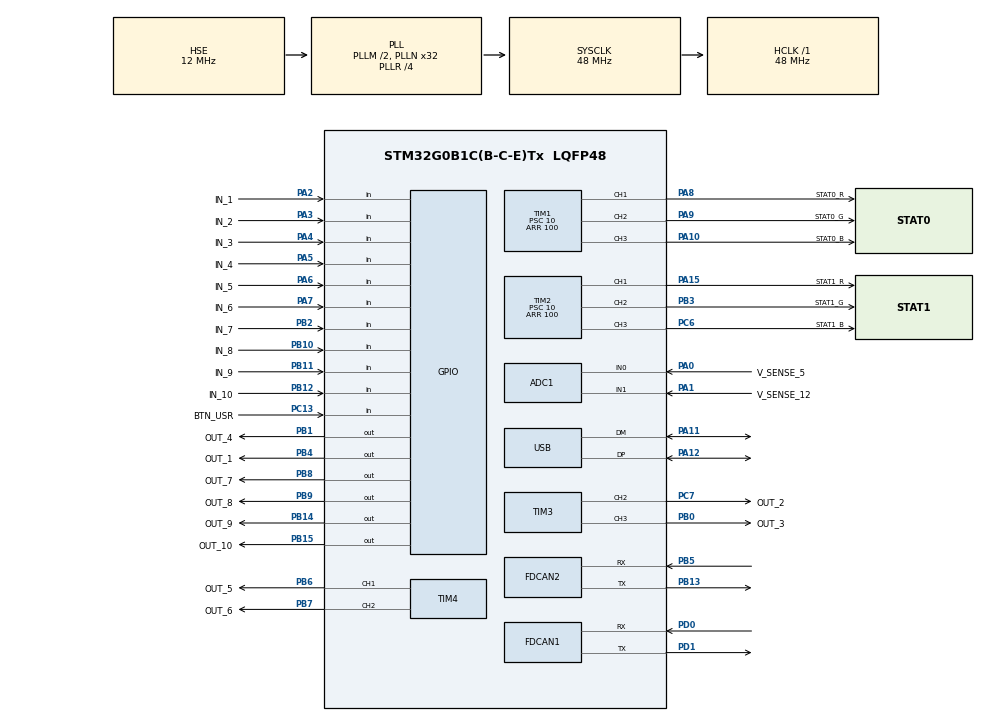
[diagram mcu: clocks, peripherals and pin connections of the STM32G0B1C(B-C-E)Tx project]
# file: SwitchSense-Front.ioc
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ADC1.ContinuousConvMode=ENABLE
ADC1.DMAContinuousRequests=ENABLE
ADC1.NbrOfConversion=1
ADC1.NbrOfConversionFlag=0
ADC1.OversamplingMode=ENABLE
ADC1.Ratio=ADC_OVERSAMPLING_RATIO_64
ADC1.RightBitShift=ADC_RIGHTBITSHIFT_2
ADC1.SamplingTimeCommon1=ADC_SAMPLETIME_7CYCLES_5
ADC1.SelectedChannel=ADC_CHANNEL_0|ADC_CHANNEL_1|ADC_CHANNEL_TEMPSENSOR|ADC_CHANNEL_VREFINT
ADC1.Sequencer=NOT_FULLY_CONFIGURABLE
ADC1.master=1
Dma.ADC1.0.Direction=DMA_PERIPH_TO_MEMORY
Dma.ADC1.0.EventEnable=DISABLE
Dma.ADC1.0.Instance=DMA1_Channel1
Dma.ADC1.0.MemDataAlignment=DMA_MDATAALIGN_HALFWORD
Dma.ADC1.0.MemInc=DMA_MINC_ENABLE
Dma.ADC1.0.Mode=DMA_CIRCULAR
Dma.ADC1.0.PeriphDataAlignment=DMA_PDATAALIGN_HALFWORD
Dma.ADC1.0.PeriphInc=DMA_PINC_DISABLE
Dma.ADC1.0.Polarity=HAL_DMAMUX_REQ_GEN_RISING
Dma.ADC1.0.Priority=DMA_PRIORITY_HIGH
Dma.ADC1.0.RequestNumber=1
Dma.ADC1.0.SignalID=NONE
Dma.ADC1.0.SyncEnable=DISABLE
Dma.ADC1.0.SyncPolarity=HAL_DMAMUX_SYNC_NO_EVENT
Dma.ADC1.0.SyncRequestNumber=1
Dma.ADC1.0.SyncSignalID=NONE
Dma.Request0=ADC1
FDCAN1.CalculateBaudRateNominal=250000
FDCAN1.CalculateTimeBitNominal=4000
FDCAN1.CalculateTimeQuantumNominal=250.0
FDCAN1.NominalPrescaler=12
FDCAN1.NominalTimeSeg1=13
FDCAN1.NominalTimeSeg2=2
FDCAN2.CalculateBaudRateNominal=500000
FDCAN2.CalculateTimeBitNominal=2000
FDCAN2.CalculateTimeQuantumNominal=125.0
FDCAN2.NominalPrescaler=6
FDCAN2.NominalTimeSeg1=13
FDCAN2.NominalTimeSeg2=2
Mcu.Family=STM32G0
Mcu.Name=STM32G0B1C(B-C-E)Tx
Mcu.Package=LQFP48
NVIC.ADC1_COMP_IRQn=true\:0\:0\:false\:false\:true\:true\:true\:true
NVIC.DMA1_Channel1_IRQn=true\:0\:0\:false\:false\:true\:false\:true\:true
NVIC.TIM16_FDCAN_IT0_IRQn=true\:0\:0\:false\:false\:true\:true\:true\:true
NVIC.TIM17_FDCAN_IT1_IRQn=true\:0\:0\:false\:false\:true\:true\:true\:true
PA0.GPIO_Label=V_SENSE_5
PA0.Mode=IN0
PA0.Signal=ADC1_IN0
PA1.GPIO_Label=V_SENSE_12
PA1.Mode=IN1
PA1.Signal=ADC1_IN1
PA10.GPIO_Label=STAT0_B
PA10.Signal=S_TIM1_CH3
PA11\ [PA9].Mode=Device
PA11\ [PA9].Signal=USB_DM
PA12\ [PA10].Mode=Device
PA12\ [PA10].Signal=USB_DP
PA13.Mode=Serial_Wire
PA13.Signal=SYS_SWDIO
PA14-BOOT0.Mode=Serial_Wire
PA14-BOOT0.Signal=SYS_SWCLK
PA15.GPIO_Label=STAT1_R
PA15.Signal=S_TIM2_CH1_ETR
PA2.GPIO_Label=IN_1
PA2.Signal=GPIO_Input
PA3.GPIO_Label=IN_2
PA3.Signal=GPIO_Input
PA4.GPIO_Label=IN_3
PA4.Signal=GPIO_Input
PA5.GPIO_Label=IN_4
PA5.Signal=GPIO_Input
PA6.GPIO_Label=IN_5
PA6.Signal=GPIO_Input
PA7.GPIO_Label=IN_6
PA7.Signal=GPIO_Input
PA8.GPIO_Label=STAT0_R
PA8.Signal=S_TIM1_CH1
PA9.GPIO_Label=STAT0_G
PA9.Signal=S_TIM1_CH2
PB0.GPIO_Label=OUT_3
PB0.Signal=S_TIM3_CH3
PB1.GPIO_Label=OUT_4
PB1.Signal=GPIO_Output
PB10.GPIO_Label=IN_8
PB10.Signal=GPIO_Input
PB11.GPIO_Label=IN_9
PB11.Signal=GPIO_Input
PB12.GPIO_Label=IN_10
PB12.Signal=GPIO_Input
PB13.Mode=FDCAN_Activate
PB13.Signal=FDCAN2_TX
PB14.GPIO_Label=OUT_9
PB14.Signal=GPIO_Output
PB15.GPIO_Label=OUT_10
PB15.Signal=GPIO_Output
PB2.GPIO_Label=IN_7
PB2.Signal=GPIO_Input
PB3.GPIO_Label=STAT1_G
PB3.Signal=S_TIM2_CH2
PB4.GPIO_Label=OUT_1
PB4.Signal=GPIO_Output
PB5.Mode=FDCAN_Activate
PB5.Signal=FDCAN2_RX
PB6.GPIO_Label=OUT_5
PB6.Signal=S_TIM4_CH1
PB7.GPIO_Label=OUT_6
PB7.Signal=S_TIM4_CH2
PB8.GPIO_Label=OUT_7
PB8.Signal=GPIO_Output
PB9.GPIO_Label=OUT_8
PB9.Signal=GPIO_Output
PC13.GPIO_Label=BTN_USR
PC13.Signal=GPIO_Input
PC6.GPIO_Label=STAT1_B
PC6.Signal=S_TIM2_CH3
PC7.GPIO_Label=OUT_2
PC7.Signal=S_TIM3_CH2
PD0.Mode=FDCAN_Activate
PD0.Signal=FDCAN1_RX
PD1.Mode=FDCAN_Activate
PD1.Signal=FDCAN1_TX
PF0-OSC_IN\ (PF0).Mode=HSE-External-Oscillator
PF0-OSC_IN\ (PF0).Signal=RCC_OSC_IN
PF1-OSC_OUT\ (PF1).Mode=HSE-External-Oscillator
PF1-OSC_OUT\ (PF1).Signal=RCC_OSC_OUT
ProjectManager.HeapSize=0x200
ProjectManager.StackSize=0x400
ProjectManager.TargetToolchain=CMake
RCC.ADCFreq_Value=48000000
RCC.AHBFreq_Value=48000000
RCC.CortexFreq_Value=48000000
RCC.EXTERNAL_CLOCK_VALUE=48000
RCC.HCLKFreq_Value=48000000
RCC.HSE_VALUE=12000000
RCC.HSI48_VALUE=48000000
RCC.HSI_VALUE=16000000
RCC.LSE_VALUE=32768
RCC.PLLM=RCC_PLLM_DIV2
RCC.PLLN=32
RCC.PLLR=RCC_PLLR_DIV4
RCC.PLLSourceVirtual=RCC_PLLSOURCE_HSE
RCC.RTCClockSelection=RCC_RTCCLKSOURCE_LSE
RCC.SYSCLKFreq_VALUE=48000000
RCC.SYSCLKSource=RCC_SYSCLKSOURCE_PLLCLK
RCC.USBFreq_Value=48000000
RCC.VCOOutputFreq_Value=192000000
SH.S_TIM1_CH1.0=TIM1_CH1,PWM Generation1 CH1
SH.S_TIM1_CH2.0=TIM1_CH2,PWM Generation2 CH2
SH.S_TIM1_CH3.0=TIM1_CH3,PWM Generation3 CH3
SH.S_TIM2_CH1_ETR.0=TIM2_CH1,PWM Generation1 CH1
SH.S_TIM2_CH2.0=TIM2_CH2,PWM Generation2 CH2
SH.S_TIM2_CH3.0=TIM2_CH3,PWM Generation3 CH3
SH.S_TIM3_CH2.0=TIM3_CH2,PWM Generation2 CH2
SH.S_TIM3_CH3.0=TIM3_CH3,PWM Generation3 CH3
SH.S_TIM4_CH1.0=TIM4_CH1,PWM Generation1 CH1
SH.S_TIM4_CH2.0=TIM4_CH2,PWM Generation2 CH2
TIM1.Channel-PWM\ Generation1\ CH1=TIM_CHANNEL_1
TIM1.Channel-PWM\ Generation2\ CH2=TIM_CHANNEL_2
TIM1.Channel-PWM\ Generation3\ CH3=TIM_CHANNEL_3
TIM1.Period=100
TIM1.Prescaler=10
TIM2.Channel-PWM\ Generation1\ CH1=TIM_CHANNEL_1
TIM2.Channel-PWM\ Generation2\ CH2=TIM_CHANNEL_2
TIM2.Channel-PWM\ Generation3\ CH3=TIM_CHANNEL_3
TIM2.Period=100
TIM2.Prescaler=10
TIM3.Channel-PWM\ Generation2\ CH2=TIM_CHANNEL_2
TIM3.Channel-PWM\ Generation3\ CH3=TIM_CHANNEL_3
TIM4.Channel-PWM\ Generation1\ CH1=TIM_CHANNEL_1
TIM4.Channel-PWM\ Generation2\ CH2=TIM_CHANNEL_2
VP_ADC1_TempSens_Input.Mode=IN-TempSens
VP_ADC1_Vref_Input.Mode=IN-Vrefint
VP_SYS_VS_DBSignals.Mode=DisableDeadBatterySignals
board=custom

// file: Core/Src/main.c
/* USER CODE BEGIN Header */
/**
  ******************************************************************************
  * @file           : main.c
  * @brief          : Main program body
  ******************************************************************************
  * @attention
  *
  * Copyright (c) 2026 STMicroelectronics.
  * All rights reserved.
  *
  * This software is licensed under terms that can be found in the LICENSE file
  * in the root directory of this software component.
  * If no LICENSE file comes with this software, it is provided AS-IS.
  *
  ******************************************************************************
  */
/* USER CODE END Header */
#include "main.h"

/* USER CODE BEGIN Includes */

#include "LV3_CAN.h"
#include "stm32g0xx_hal_gpio.h"

#include "mppt_interface.h"

/* USER CODE END Includes */

ADC_HandleTypeDef hadc1;
DMA_HandleTypeDef hdma_adc1;

FDCAN_HandleTypeDef hfdcan1;
FDCAN_HandleTypeDef hfdcan2;

TIM_HandleTypeDef htim1;
TIM_HandleTypeDef htim2;
TIM_HandleTypeDef htim3;
TIM_HandleTypeDef htim4;

PCD_HandleTypeDef hpcd_USB_DRD_FS;

/* USER CODE BEGIN PV */
uint16_t adc_buf[4];

uint16_t V_SENSE_5;
uint16_t V_SENSE_12;

// 12-bit ADC, 64x oversampling, right shift 2: full scale = 4095 * 64 / 4
// V_pin = (raw / (4095.0f * 64.0f / 4.0f)) * 3.3f
float v_sense_5;   // V_pin * (1 + 1) / 1 — 1:1 divider
float v_sense_12;  // V_pin * (100 + 5.1) / 5.1

GPIO_PinState in_1;

// --- LV3 CAN bindings (module id 4) ---
uint32_t sw_service_brake_val = 0;
uint32_t signal_left_val = 0;
uint32_t signal_right_val = 0;
uint32_t main_contactor_switch = 0;

const LV3_CAN_Binding lv3_can_bindings[] = {
    {&sw_service_brake_val, sw_service_brake, LV3_CAN_BindMode_Write},

    {&signal_left_val, signal_left, LV3_CAN_BindMode_Read},
    {&signal_right_val, signal_right, LV3_CAN_BindMode_Read},

    {&main_contactor_switch, sw_hv_main, LV3_CAN_BindMode_Write},

    {&mppt_data[0].arrayVoltage, mppt1_voltage, LV3_CAN_BindMode_Write},
    {&mppt_data[0].arrayCurrent, mppt1_current, LV3_CAN_BindMode_Write},
    {&mppt_data[0].batteryVoltage, mppt1_batt_rail, LV3_CAN_BindMode_Write},
    {&mppt_data[0].batteryTemp, mppt1_temp, LV3_CAN_BindMode_Write},

    {&mppt_data[1].arrayVoltage, mppt2_voltage, LV3_CAN_BindMode_Write},
    {&mppt_data[1].arrayCurrent, mppt2_current, LV3_CAN_BindMode_Write},
    {&mppt_data[1].batteryVoltage, mppt2_batt_rail, LV3_CAN_BindMode_Write},
    {&mppt_data[1].batteryTemp, mppt2_temp, LV3_CAN_BindMode_Write},

    {&mppt_data[2].arrayVoltage, mppt3_voltage, LV3_CAN_BindMode_Write},
    {&mppt_data[2].arrayCurrent, mppt3_current, LV3_CAN_BindMode_Write},
    {&mppt_data[2].batteryVoltage, mppt3_batt_rail, LV3_CAN_BindMode_Write},
    {&mppt_data[2].batteryTemp, mppt3_temp, LV3_CAN_BindMode_Write},

    {&mppt_data[3].arrayVoltage, mppt4_voltage, LV3_CAN_BindMode_Write},
    {&mppt_data[3].arrayCurrent, mppt4_current, LV3_CAN_BindMode_Write},
    {&mppt_data[3].batteryVoltage, mppt4_batt_rail, LV3_CAN_BindMode_Write},
    {&mppt_data[3].batteryTemp, mppt4_temp, LV3_CAN_BindMode_Write},
};
const unsigned int lv3_can_bindings_count = sizeof(lv3_can_bindings) / sizeof(LV3_CAN_Binding);
/* USER CODE END PV */

void SystemClock_Config(void);
static void MX_GPIO_Init(void);
static void MX_DMA_Init(void);
static void MX_FDCAN1_Init(void);
static void MX_USB_DRD_FS_PCD_Init(void);
static void MX_TIM1_Init(void);
static void MX_TIM2_Init(void);
static void MX_TIM3_Init(void);
static void MX_TIM4_Init(void);
static void MX_ADC1_Init(void);
static void MX_FDCAN2_Init(void);

int main(void)
{

  /* MCU Configuration--------------------------------------------------------*/

  /* Reset of all peripherals, Initializes the Flash interface and the Systick. */
  HAL_Init();

  /* Configure the system clock */
  SystemClock_Config();

  /* Initialize all configured peripherals */
  MX_GPIO_Init();
  MX_DMA_Init();
  MX_FDCAN1_Init();
  MX_USB_DRD_FS_PCD_Init();
  MX_TIM1_Init();
  MX_TIM2_Init();
  MX_TIM3_Init();
  MX_TIM4_Init();
  MX_ADC1_Init();
  MX_FDCAN2_Init();
  /* USER CODE BEGIN 2 */

  HAL_ADCEx_Calibration_Start(&hadc1);

  HAL_ADC_Start_DMA(&hadc1, (uint32_t *)adc_buf, 4);

  HAL_TIM_PWM_Start(&htim1, TIM_CHANNEL_1);
  HAL_TIM_PWM_Start(&htim1, TIM_CHANNEL_2);
  HAL_TIM_PWM_Start(&htim1, TIM_CHANNEL_3);

  //power on MPPT
  HAL_GPIO_WritePin(OUT_4_GPIO_Port, OUT_4_Pin, GPIO_PIN_SET);

  MPPT_Init();

  LV3_CAN_Init(4, LV3_CAN_BusMode_Normal, lv3_can_bindings, lv3_can_bindings_count);

  /* USER CODE END 2 */

  /* Infinite loop */
  while (1)
  {

    /* USER CODE BEGIN 3 */

    // --- Read inputs ---
    V_SENSE_5  = adc_buf[0];
    V_SENSE_12 = adc_buf[1];

    float adc_pin_voltage;

    adc_pin_voltage = (V_SENSE_5 / (4095.0f * 64.0f / 4.0f)) * 3.3f;
    v_sense_5 = adc_pin_voltage * (1.0f + 1.0f) / 1.0f;

    adc_pin_voltage = (V_SENSE_12 / (4095.0f * 64.0f / 4.0f)) * 3.3f;
    v_sense_12 = adc_pin_voltage * (100.0f + 5.1f) / 5.1f;

    in_1 = HAL_GPIO_ReadPin(IN_1_GPIO_Port, IN_1_Pin);

    main_contactor_switch = !HAL_GPIO_ReadPin(IN_3_GPIO_Port, IN_3_Pin);
    // --- LV3 CAN ---
    sw_service_brake_val = in_1;
    LV3_CAN_Loop();

    // --- Apply outputs ---
    // DRLs
    HAL_GPIO_WritePin(OUT_7_GPIO_Port, OUT_7_Pin, GPIO_PIN_SET);
    HAL_GPIO_WritePin(OUT_9_GPIO_Port, OUT_9_Pin, GPIO_PIN_SET);
    // Turn signals
    HAL_GPIO_WritePin(OUT_8_GPIO_Port, OUT_8_Pin, signal_left_val);
    HAL_GPIO_WritePin(OUT_10_GPIO_Port, OUT_10_Pin, signal_right_val);
    // Status LED: input 1
    __HAL_TIM_SET_COMPARE(&htim1, TIM_CHANNEL_1, in_1*100);
  }
  /* USER CODE END 3 */
}

void SystemClock_Config(void)
{
  RCC_OscInitTypeDef RCC_OscInitStruct = {0};
  RCC_ClkInitTypeDef RCC_ClkInitStruct = {0};

  /** Configure the main internal regulator output voltage
  */
  HAL_PWREx_ControlVoltageScaling(PWR_REGULATOR_VOLTAGE_SCALE1);

  /** Initializes the RCC Oscillators according to the specified parameters
  * in the RCC_OscInitTypeDef structure.
  */
  RCC_OscInitStruct.OscillatorType = RCC_OSCILLATORTYPE_HSE|RCC_OSCILLATORTYPE_HSI48;
  RCC_OscInitStruct.HSEState = RCC_HSE_ON;
  RCC_OscInitStruct.HSI48State = RCC_HSI48_ON;
  RCC_OscInitStruct.PLL.PLLState = RCC_PLL_ON;
  RCC_OscInitStruct.PLL.PLLSource = RCC_PLLSOURCE_HSE;
  RCC_OscInitStruct.PLL.PLLM = RCC_PLLM_DIV2;
  RCC_OscInitStruct.PLL.PLLN = 32;
  RCC_OscInitStruct.PLL.PLLP = RCC_PLLP_DIV2;
  RCC_OscInitStruct.PLL.PLLQ = RCC_PLLQ_DIV2;
  RCC_OscInitStruct.PLL.PLLR = RCC_PLLR_DIV4;
  if (HAL_RCC_OscConfig(&RCC_OscInitStruct) != HAL_OK)
  {
    Error_Handler();
  }

  /** Initializes the CPU, AHB and APB buses clocks
  */
  RCC_ClkInitStruct.ClockType = RCC_CLOCKTYPE_HCLK|RCC_CLOCKTYPE_SYSCLK
                              |RCC_CLOCKTYPE_PCLK1;
  RCC_ClkInitStruct.SYSCLKSource = RCC_SYSCLKSOURCE_PLLCLK;
  RCC_ClkInitStruct.AHBCLKDivider = RCC_SYSCLK_DIV1;
  RCC_ClkInitStruct.APB1CLKDivider = RCC_HCLK_DIV1;

  if (HAL_RCC_ClockConfig(&RCC_ClkInitStruct, FLASH_LATENCY_1) != HAL_OK)
  {
    Error_Handler();
  }
}

static void MX_ADC1_Init(void)
{

  ADC_ChannelConfTypeDef sConfig = {0};

  /** Configure the global features of the ADC (Clock, Resolution, Data Alignment and number of conversion)
  */
  hadc1.Instance = ADC1;
  hadc1.Init.ClockPrescaler = ADC_CLOCK_SYNC_PCLK_DIV2;
  hadc1.Init.Resolution = ADC_RESOLUTION_12B;
  hadc1.Init.DataAlign = ADC_DATAALIGN_RIGHT;
  hadc1.Init.ScanConvMode = ADC_SCAN_SEQ_FIXED;
  hadc1.Init.EOCSelection = ADC_EOC_SINGLE_CONV;
  hadc1.Init.LowPowerAutoWait = DISABLE;
  hadc1.Init.LowPowerAutoPowerOff = DISABLE;
  hadc1.Init.ContinuousConvMode = ENABLE;
  hadc1.Init.NbrOfConversion = 1;
  hadc1.Init.ExternalTrigConv = ADC_SOFTWARE_START;
  hadc1.Init.ExternalTrigConvEdge = ADC_EXTERNALTRIGCONVEDGE_NONE;
  hadc1.Init.DMAContinuousRequests = ENABLE;
  hadc1.Init.Overrun = ADC_OVR_DATA_PRESERVED;
  hadc1.Init.SamplingTimeCommon1 = ADC_SAMPLETIME_7CYCLES_5;
  hadc1.Init.OversamplingMode = ENABLE;
  hadc1.Init.Oversampling.Ratio = ADC_OVERSAMPLING_RATIO_64;
  hadc1.Init.Oversampling.RightBitShift = ADC_RIGHTBITSHIFT_2;
  hadc1.Init.Oversampling.TriggeredMode = ADC_TRIGGEREDMODE_SINGLE_TRIGGER;
  hadc1.Init.TriggerFrequencyMode = ADC_TRIGGER_FREQ_HIGH;
  if (HAL_ADC_Init(&hadc1) != HAL_OK)
  {
    Error_Handler();
  }

  /** Configure Regular Channel
  */
  sConfig.Channel = ADC_CHANNEL_0;
  sConfig.Rank = ADC_RANK_CHANNEL_NUMBER;
  if (HAL_ADC_ConfigChannel(&hadc1, &sConfig) != HAL_OK)
  {
    Error_Handler();
  }

  /** Configure Regular Channel
  */
  sConfig.Channel = ADC_CHANNEL_1;
  if (HAL_ADC_ConfigChannel(&hadc1, &sConfig) != HAL_OK)
  {
    Error_Handler();
  }

  /** Configure Regular Channel
  */
  sConfig.Channel = ADC_CHANNEL_TEMPSENSOR;
  if (HAL_ADC_ConfigChannel(&hadc1, &sConfig) != HAL_OK)
  {
    Error_Handler();
  }

  /** Configure Regular Channel
  */
  sConfig.Channel = ADC_CHANNEL_VREFINT;
  if (HAL_ADC_ConfigChannel(&hadc1, &sConfig) != HAL_OK)
  {
    Error_Handler();
  }

}

static void MX_FDCAN1_Init(void)
{

  hfdcan1.Instance = FDCAN1;
  hfdcan1.Init.ClockDivider = FDCAN_CLOCK_DIV1;
  hfdcan1.Init.FrameFormat = FDCAN_FRAME_CLASSIC;
  hfdcan1.Init.Mode = FDCAN_MODE_NORMAL;
  hfdcan1.Init.AutoRetransmission = DISABLE;
  hfdcan1.Init.TransmitPause = DISABLE;
  hfdcan1.Init.ProtocolException = DISABLE;
  hfdcan1.Init.NominalPrescaler = 12;
  hfdcan1.Init.NominalSyncJumpWidth = 1;
  hfdcan1.Init.NominalTimeSeg1 = 13;
  hfdcan1.Init.NominalTimeSeg2 = 2;
  hfdcan1.Init.DataPrescaler = 1;
  hfdcan1.Init.DataSyncJumpWidth = 1;
  hfdcan1.Init.DataTimeSeg1 = 1;
  hfdcan1.Init.DataTimeSeg2 = 1;
  hfdcan1.Init.StdFiltersNbr = 0;
  hfdcan1.Init.ExtFiltersNbr = 0;
  hfdcan1.Init.TxFifoQueueMode = FDCAN_TX_FIFO_OPERATION;
  if (HAL_FDCAN_Init(&hfdcan1) != HAL_OK)
  {
    Error_Handler();
  }

}

static void MX_FDCAN2_Init(void)
{

  hfdcan2.Instance = FDCAN2;
  hfdcan2.Init.ClockDivider = FDCAN_CLOCK_DIV1;
  hfdcan2.Init.FrameFormat = FDCAN_FRAME_CLASSIC;
  hfdcan2.Init.Mode = FDCAN_MODE_NORMAL;
  hfdcan2.Init.AutoRetransmission = DISABLE;
  hfdcan2.Init.TransmitPause = DISABLE;
  hfdcan2.Init.ProtocolException = DISABLE;
  hfdcan2.Init.NominalPrescaler = 6;
  hfdcan2.Init.NominalSyncJumpWidth = 1;
  hfdcan2.Init.NominalTimeSeg1 = 13;
  hfdcan2.Init.NominalTimeSeg2 = 2;
  hfdcan2.Init.DataPrescaler = 1;
  hfdcan2.Init.DataSyncJumpWidth = 1;
  hfdcan2.Init.DataTimeSeg1 = 1;
  hfdcan2.Init.DataTimeSeg2 = 1;
  hfdcan2.Init.StdFiltersNbr = 0;
  hfdcan2.Init.ExtFiltersNbr = 0;
  hfdcan2.Init.TxFifoQueueMode = FDCAN_TX_FIFO_OPERATION;
  if (HAL_FDCAN_Init(&hfdcan2) != HAL_OK)
  {
    Error_Handler();
  }

}

static void MX_TIM1_Init(void)
{

  TIM_MasterConfigTypeDef sMasterConfig = {0};
  TIM_OC_InitTypeDef sConfigOC = {0};
  TIM_BreakDeadTimeConfigTypeDef sBreakDeadTimeConfig = {0};

  htim1.Instance = TIM1;
  htim1.Init.Prescaler = 10;
  htim1.Init.CounterMode = TIM_COUNTERMODE_UP;
  htim1.Init.Period = 100;
  htim1.Init.ClockDivision = TIM_CLOCKDIVISION_DIV1;
  htim1.Init.RepetitionCounter = 0;
  htim1.Init.AutoReloadPreload = TIM_AUTORELOAD_PRELOAD_DISABLE;
  if (HAL_TIM_PWM_Init(&htim1) != HAL_OK)
  {
    Error_Handler();
  }
  sMasterConfig.MasterOutputTrigger = TIM_TRGO_RESET;
  sMasterConfig.MasterOutputTrigger2 = TIM_TRGO2_RESET;
  sMasterConfig.MasterSlaveMode = TIM_MASTERSLAVEMODE_DISABLE;
  if (HAL_TIMEx_MasterConfigSynchronization(&htim1, &sMasterConfig) != HAL_OK)
  {
    Error_Handler();
  }
  sConfigOC.OCMode = TIM_OCMODE_PWM1;
  sConfigOC.Pulse = 0;
  sConfigOC.OCPolarity = TIM_OCPOLARITY_HIGH;
  sConfigOC.OCNPolarity = TIM_OCNPOLARITY_HIGH;
  sConfigOC.OCFastMode = TIM_OCFAST_DISABLE;
  sConfigOC.OCIdleState = TIM_OCIDLESTATE_RESET;
  sConfigOC.OCNIdleState = TIM_OCNIDLESTATE_RESET;
  if (HAL_TIM_PWM_ConfigChannel(&htim1, &sConfigOC, TIM_CHANNEL_1) != HAL_OK)
  {
    Error_Handler();
  }
  if (HAL_TIM_PWM_ConfigChannel(&htim1, &sConfigOC, TIM_CHANNEL_2) != HAL_OK)
  {
    Error_Handler();
  }
  if (HAL_TIM_PWM_ConfigChannel(&htim1, &sConfigOC, TIM_CHANNEL_3) != HAL_OK)
  {
    Error_Handler();
  }
  sBreakDeadTimeConfig.OffStateRunMode = TIM_OSSR_DISABLE;
  sBreakDeadTimeConfig.OffStateIDLEMode = TIM_OSSI_DISABLE;
  sBreakDeadTimeConfig.LockLevel = TIM_LOCKLEVEL_OFF;
  sBreakDeadTimeConfig.DeadTime = 0;
  sBreakDeadTimeConfig.BreakState = TIM_BREAK_DISABLE;
  sBreakDeadTimeConfig.BreakPolarity = TIM_BREAKPOLARITY_HIGH;
  sBreakDeadTimeConfig.BreakFilter = 0;
  sBreakDeadTimeConfig.BreakAFMode = TIM_BREAK_AFMODE_INPUT;
  sBreakDeadTimeConfig.Break2State = TIM_BREAK2_DISABLE;
  sBreakDeadTimeConfig.Break2Polarity = TIM_BREAK2POLARITY_HIGH;
  sBreakDeadTimeConfig.Break2Filter = 0;
  sBreakDeadTimeConfig.Break2AFMode = TIM_BREAK_AFMODE_INPUT;
  sBreakDeadTimeConfig.AutomaticOutput = TIM_AUTOMATICOUTPUT_DISABLE;
  if (HAL_TIMEx_ConfigBreakDeadTime(&htim1, &sBreakDeadTimeConfig) != HAL_OK)
  {
    Error_Handler();
  }
  HAL_TIM_MspPostInit(&htim1);

}

static void MX_TIM2_Init(void)
{

  TIM_MasterConfigTypeDef sMasterConfig = {0};
  TIM_OC_InitTypeDef sConfigOC = {0};

  htim2.Instance = TIM2;
  htim2.Init.Prescaler = 10;
  htim2.Init.CounterMode = TIM_COUNTERMODE_UP;
  htim2.Init.Period = 100;
  htim2.Init.ClockDivision = TIM_CLOCKDIVISION_DIV1;
  htim2.Init.AutoReloadPreload = TIM_AUTORELOAD_PRELOAD_DISABLE;
  if (HAL_TIM_PWM_Init(&htim2) != HAL_OK)
  {
    Error_Handler();
  }
  sMasterConfig.MasterOutputTrigger = TIM_TRGO_RESET;
  sMasterConfig.MasterSlaveMode = TIM_MASTERSLAVEMODE_DISABLE;
  if (HAL_TIMEx_MasterConfigSynchronization(&htim2, &sMasterConfig) != HAL_OK)
  {
    Error_Handler();
  }
  sConfigOC.OCMode = TIM_OCMODE_PWM1;
  sConfigOC.Pulse = 0;
  sConfigOC.OCPolarity = TIM_OCPOLARITY_HIGH;
  sConfigOC.OCFastMode = TIM_OCFAST_DISABLE;
  if (HAL_TIM_PWM_ConfigChannel(&htim2, &sConfigOC, TIM_CHANNEL_1) != HAL_OK)
  {
    Error_Handler();
  }
  if (HAL_TIM_PWM_ConfigChannel(&htim2, &sConfigOC, TIM_CHANNEL_2) != HAL_OK)
  {
    Error_Handler();
  }
  if (HAL_TIM_PWM_ConfigChannel(&htim2, &sConfigOC, TIM_CHANNEL_3) != HAL_OK)
  {
    Error_Handler();
  }
  HAL_TIM_MspPostInit(&htim2);

}

static void MX_TIM3_Init(void)
{

  TIM_MasterConfigTypeDef sMasterConfig = {0};
  TIM_OC_InitTypeDef sConfigOC = {0};

  htim3.Instance = TIM3;
  htim3.Init.Prescaler = 0;
  htim3.Init.CounterMode = TIM_COUNTERMODE_UP;
  htim3.Init.Period = 65535;
  htim3.Init.ClockDivision = TIM_CLOCKDIVISION_DIV1;
  htim3.Init.AutoReloadPreload = TIM_AUTORELOAD_PRELOAD_DISABLE;
  if (HAL_TIM_PWM_Init(&htim3) != HAL_OK)
  {
    Error_Handler();
  }
  sMasterConfig.MasterOutputTrigger = TIM_TRGO_RESET;
  sMasterConfig.MasterSlaveMode = TIM_MASTERSLAVEMODE_DISABLE;
  if (HAL_TIMEx_MasterConfigSynchronization(&htim3, &sMasterConfig) != HAL_OK)
  {
    Error_Handler();
  }
  sConfigOC.OCMode = TIM_OCMODE_PWM1;
  sConfigOC.Pulse = 0;
  sConfigOC.OCPolarity = TIM_OCPOLARITY_HIGH;
  sConfigOC.OCFastMode = TIM_OCFAST_DISABLE;
  if (HAL_TIM_PWM_ConfigChannel(&htim3, &sConfigOC, TIM_CHANNEL_2) != HAL_OK)
  {
    Error_Handler();
  }
  if (HAL_TIM_PWM_ConfigChannel(&htim3, &sConfigOC, TIM_CHANNEL_3) != HAL_OK)
  {
    Error_Handler();
  }
  HAL_TIM_MspPostInit(&htim3);

}

static void MX_TIM4_Init(void)
{

  TIM_MasterConfigTypeDef sMasterConfig = {0};
  TIM_OC_InitTypeDef sConfigOC = {0};

  htim4.Instance = TIM4;
  htim4.Init.Prescaler = 0;
  htim4.Init.CounterMode = TIM_COUNTERMODE_UP;
  htim4.Init.Period = 65535;
  htim4.Init.ClockDivision = TIM_CLOCKDIVISION_DIV1;
  htim4.Init.AutoReloadPreload = TIM_AUTORELOAD_PRELOAD_DISABLE;
  if (HAL_TIM_PWM_Init(&htim4) != HAL_OK)
  {
    Error_Handler();
  }
  sMasterConfig.MasterOutputTrigger = TIM_TRGO_RESET;
  sMasterConfig.MasterSlaveMode = TIM_MASTERSLAVEMODE_DISABLE;
  if (HAL_TIMEx_MasterConfigSynchronization(&htim4, &sMasterConfig) != HAL_OK)
  {
    Error_Handler();
  }
  sConfigOC.OCMode = TIM_OCMODE_PWM1;
  sConfigOC.Pulse = 0;
  sConfigOC.OCPolarity = TIM_OCPOLARITY_HIGH;
  sConfigOC.OCFastMode = TIM_OCFAST_DISABLE;
  if (HAL_TIM_PWM_ConfigChannel(&htim4, &sConfigOC, TIM_CHANNEL_1) != HAL_OK)
  {
    Error_Handler();
  }
  if (HAL_TIM_PWM_ConfigChannel(&htim4, &sConfigOC, TIM_CHANNEL_2) != HAL_OK)
  {
    Error_Handler();
  }
  HAL_TIM_MspPostInit(&htim4);

}

static void MX_USB_DRD_FS_PCD_Init(void)
{

  hpcd_USB_DRD_FS.Instance = USB_DRD_FS;
  hpcd_USB_DRD_FS.Init.dev_endpoints = 8;
  hpcd_USB_DRD_FS.Init.Host_channels = 8;
  hpcd_USB_DRD_FS.Init.speed = PCD_SPEED_FULL;
  hpcd_USB_DRD_FS.Init.phy_itface = PCD_PHY_EMBEDDED;
  hpcd_USB_DRD_FS.Init.Sof_enable = DISABLE;
  hpcd_USB_DRD_FS.Init.low_power_enable = DISABLE;
  hpcd_USB_DRD_FS.Init.lpm_enable = DISABLE;
  hpcd_USB_DRD_FS.Init.battery_charging_enable = DISABLE;
  hpcd_USB_DRD_FS.Init.vbus_sensing_enable = DISABLE;
  hpcd_USB_DRD_FS.Init.bulk_doublebuffer_enable = DISABLE;
  hpcd_USB_DRD_FS.Init.iso_singlebuffer_enable = DISABLE;
  if (HAL_PCD_Init(&hpcd_USB_DRD_FS) != HAL_OK)
  {
    Error_Handler();
  }

}

static void MX_DMA_Init(void)
{

  /* DMA controller clock enable */
  __HAL_RCC_DMA1_CLK_ENABLE();

  /* DMA interrupt init */
  /* DMA1_Channel1_IRQn interrupt configuration */
  HAL_NVIC_SetPriority(DMA1_Channel1_IRQn, 0, 0);
  HAL_NVIC_EnableIRQ(DMA1_Channel1_IRQn);

}

static void MX_GPIO_Init(void)
{
  GPIO_InitTypeDef GPIO_InitStruct = {0};

  /* GPIO Ports Clock Enable */
  __HAL_RCC_GPIOC_CLK_ENABLE();
  __HAL_RCC_GPIOF_CLK_ENABLE();
  __HAL_RCC_GPIOA_CLK_ENABLE();
  __HAL_RCC_GPIOB_CLK_ENABLE();
  __HAL_RCC_GPIOD_CLK_ENABLE();

  /*Configure GPIO pin Output Level */
  HAL_GPIO_WritePin(GPIOB, OUT_4_Pin|OUT_9_Pin|OUT_10_Pin|OUT_1_Pin
                          |OUT_7_Pin|OUT_8_Pin, GPIO_PIN_RESET);

  /*Configure GPIO pin : BTN_USR_Pin */
  GPIO_InitStruct.Pin = BTN_USR_Pin;
  GPIO_InitStruct.Mode = GPIO_MODE_INPUT;
  GPIO_InitStruct.Pull = GPIO_NOPULL;
  HAL_GPIO_Init(BTN_USR_GPIO_Port, &GPIO_InitStruct);

  /*Configure GPIO pins : IN_1_Pin IN_2_Pin IN_3_Pin IN_4_Pin
                           IN_5_Pin IN_6_Pin */
  GPIO_InitStruct.Pin = IN_1_Pin|IN_2_Pin|IN_3_Pin|IN_4_Pin
                          |IN_5_Pin|IN_6_Pin;
  GPIO_InitStruct.Mode = GPIO_MODE_INPUT;
  GPIO_InitStruct.Pull = GPIO_NOPULL;
  HAL_GPIO_Init(GPIOA, &GPIO_InitStruct);

  /*Configure GPIO pins : OUT_4_Pin OUT_9_Pin OUT_10_Pin OUT_1_Pin
                           OUT_7_Pin OUT_8_Pin */
  GPIO_InitStruct.Pin = OUT_4_Pin|OUT_9_Pin|OUT_10_Pin|OUT_1_Pin
                          |OUT_7_Pin|OUT_8_Pin;
  GPIO_InitStruct.Mode = GPIO_MODE_OUTPUT_PP;
  GPIO_InitStruct.Pull = GPIO_NOPULL;
  GPIO_InitStruct.Speed = GPIO_SPEED_FREQ_LOW;
  HAL_GPIO_Init(GPIOB, &GPIO_InitStruct);

  /*Configure GPIO pins : IN_7_Pin IN_8_Pin IN_9_Pin IN_10_Pin */
  GPIO_InitStruct.Pin = IN_7_Pin|IN_8_Pin|IN_9_Pin|IN_10_Pin;
  GPIO_InitStruct.Mode = GPIO_MODE_INPUT;
  GPIO_InitStruct.Pull = GPIO_NOPULL;
  HAL_GPIO_Init(GPIOB, &GPIO_InitStruct);

}

void Error_Handler(void)
{
  __disable_irq();
  while (1)
  {
  }
}
